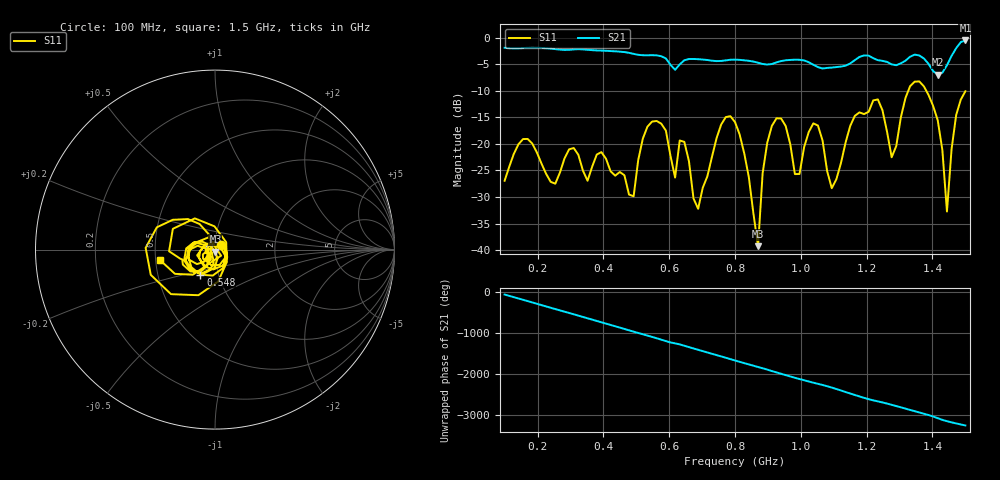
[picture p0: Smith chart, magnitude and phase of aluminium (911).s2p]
! NanoVNA-App
! Date: 2025-09-25 15:02:22
! Start: 100MHz Stop: 1,5GHz Points: 101
! S-Parameter data: F S11 S21 S12 S22
# Hz S RI R 50
!  Frequency  S11_Real  S11_Imag  S21_Real  S21_Imag  S12_Real  S12_Imag  S22_Real  S22_Imag
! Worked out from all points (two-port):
!   101 points, 100 MHz to 1.5 GHz, reference 50 ohm
!   highest |S21| = -0.55 dB at 1.5 GHz (marker M1); lowest = -7.0 dB at 1.416 GHz (marker M2)
!   |S21| within 3 dB of the highest: start of sweep to 577 MHz; 1.457 GHz to end of sweep (the widest 2 of 4)
!   lowest |S11| = -39.3 dB at 870 MHz (marker M3), VSWR 1.02, Z = 50.2 - j1.07 ohm
!   |S11| at or under -10 dB: start of sweep to 1.327 GHz; 1.381 GHz to end of sweep
!   S12 and S22 are empty: the file has one direction only
!   S11 on the Smith chart (normalised r, x): 100 MHz: 1.07, +0.06; 548 MHz: 0.82, -0.24; 1.5 GHz: 0.53, -0.07
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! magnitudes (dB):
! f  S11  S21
! 100 MHz  -27.0  -1.9
! 156 MHz  -19.1  -2.0
! 338 MHz  -25.0  -2.2
! 492 MHz  -29.9  -3.1
! 548 MHz  -15.8  -3.3
! 576 MHz  -16.2  -3.5
! 618 MHz  -26.3  -6.1
! 646 MHz  -19.6  -4.3
! 688 MHz  -32.2  -4.1
! 800 MHz  -15.9  -4.2
! 870 MHz  -39.3  -4.7
! 912 MHz  -16.6  -5.0
! 996 MHz  -25.7  -4.2
! 1.038 GHz  -16.2  -5.1
! 1.094 GHz  -28.4  -5.7
! 1.22 GHz  -11.8  -3.9
! 1.276 GHz  -22.5  -5.1
! 1.346 GHz  -8.3  -3.2
! 1.416 GHz  -15.6  -7.0
! 1.444 GHz  -32.7  -5.2
! 1.472 GHz  -14.6  -2.0
! 1.5 GHz  -10.1  -0.5
